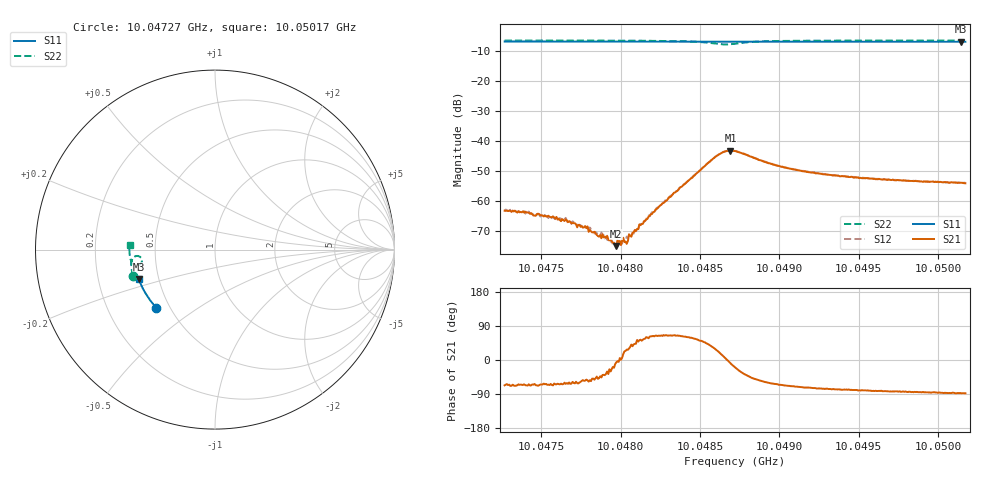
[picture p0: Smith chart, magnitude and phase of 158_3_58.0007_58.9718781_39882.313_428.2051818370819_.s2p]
#  HZ  S  RI  R  50.00
! Rohde & Schwarz Vector Network Analyzer
! Rohde-Schwarz,ZNB20-2Port,1311601062101988,3.16
! Created: UTC 3/21/2024, 12:57:19 AM
! freq[Hz]  re:S11  im:S11  re:S21  im:S21  re:S12  im:S12  re:S22  im:S22
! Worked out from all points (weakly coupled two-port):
!   401 points, 10.04727 GHz to 10.05017 GHz, reference 50 ohm
!   highest |S21| = -43.07 dB at 10.04869 GHz (marker M1); lowest = -74.8 dB at 10.04797 GHz (marker M2)
!   lowest |S11| = -6.8 dB at 10.05014 GHz (marker M3), VSWR 2.67, Z = 19.3 - j7.97 ohm
!   |S11| at or under -10 dB: nowhere
!   |S22| runs from -7.7 to -6.4 dB; largest |S21 - S12| = 0.00046
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1.0047269e10  -0.3263 -0.3246  0.000277 -0.000645  0.00032 -0.000634  -0.4556 -0.148
1.0047581e10  -0.3401 -0.3092  0.000253 -0.000478  0.000257 -0.000457  -0.461 -0.1264
1.0047647e10  -0.3429 -0.3059  0.000238 -0.000408  0.000249 -0.000433  -0.462 -0.1218
1.0047676e10  -0.3441 -0.3044  0.000241 -0.000405  0.000246 -0.000364  -0.4625 -0.1196
1.0047755e10  -0.3475 -0.3001  0.000223 -0.000317  0.00022 -0.000323  -0.4637 -0.1136
1.0047777e10  -0.3484 -0.2992  0.000227 -0.000317  0.00024 -0.000277  -0.4639 -0.112
1.0047864e10  -0.3521 -0.2946  0.000175 -0.000192  0.000205 -0.000196  -0.465 -0.1054
1.0047893e10  -0.3532 -0.293  0.000196 -0.000159  0.000232 -0.000148  -0.4653 -0.1032
1.0047973e10  -0.3564 -0.2889  0.000181 -1.97e-05  0.000186 -2.04e-05  -0.466 -0.0968
1.0047995e10  -0.3573 -0.2877  0.00022 1.99e-05  0.000211 1.54e-06  -0.4662 -0.0951
1.0048039e10  -0.3591 -0.2855  0.000175 9.06e-05  0.000228 0.000126  -0.4666 -0.0913
1.0048075e10  -0.3605 -0.2834  0.000242 0.000179  0.000205 0.000198  -0.4667 -0.0883
1.0048242e10  -0.367 -0.2746  0.000354 0.000735  0.000319 0.000766  -0.4665 -0.0722
1.004859e10  -0.3794 -0.2552  0.00456 0.00275  0.0044 0.00305  -0.4253 -0.0366
1.0048648e10  -0.3812 -0.2521  0.00655 0.00114  0.00652 0.00154  -0.4091 -0.0516
1.0048692e10  -0.3826 -0.2499  0.00695 -0.00103  0.00702 -0.00061  -0.4086 -0.0699
1.0048721e10  -0.3837 -0.2484  0.00652 -0.00233  0.00668 -0.0019  -0.415 -0.0799
1.0048975e10  -0.3926 -0.2341  0.00181 -0.00358  0.00203 -0.00352  -0.4638 -0.0691
1.0049207e10  -0.4 -0.2205  0.000847 -0.00291  0.00104 -0.00288  -0.4726 -0.0455
1.0049694e10  -0.4139 -0.1916  0.00027 -0.00228  0.000431 -0.00228  -0.4766 -0.00692
1.0050144e10  -0.4246 -0.1639  9.46e-05 -0.00203  0.000207 -0.00201  -0.4761 0.0252
1.0050173e10  -0.4253 -0.1622  7.32e-05 -0.00201  0.000196 -0.00205  -0.4762 0.0272
